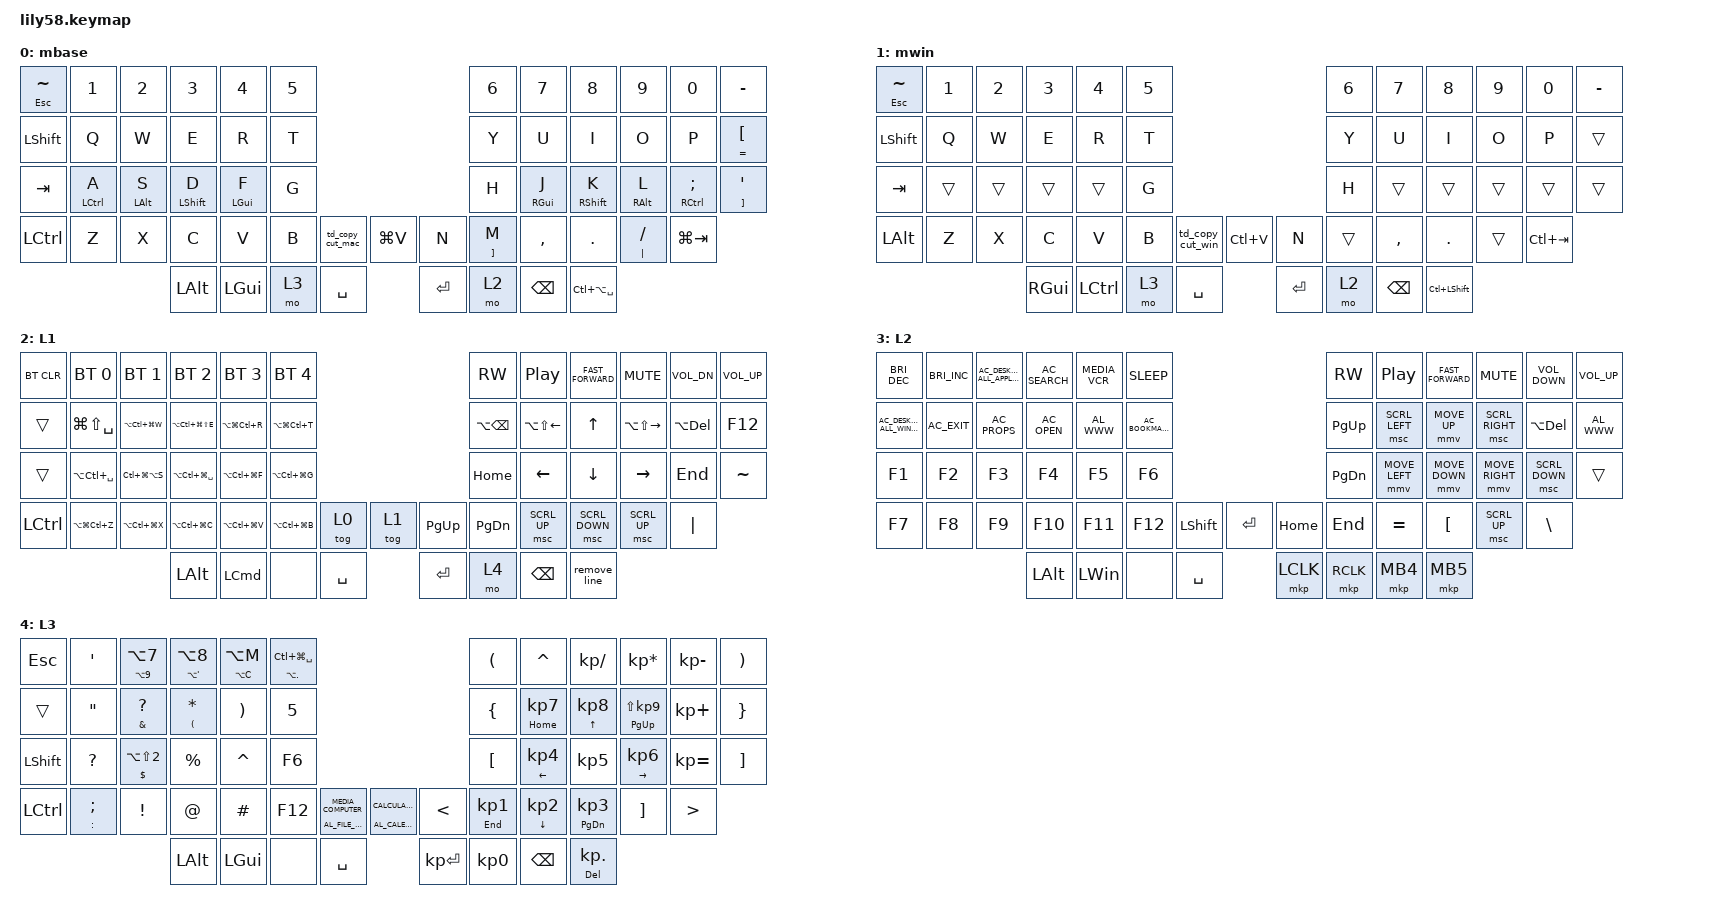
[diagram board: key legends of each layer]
/*
 * Copyright (c) 2020 The ZMK Contributors
 *
 * SPDX-License-Identifier: MIT
 */

#define MAC 0
#define WIN 1
#define L1 2
#define L2 3
#define L3 4

// Mouse Emulation Defines
#define ZMK_POINTING_DEFAULT_MOVE_VAL 1500  // default: 600
#define ZMK_POINTING_DEFAULT_SCRL_VAL 20    // default: 10

#include <behaviors.dtsi>
#include <dt-bindings/zmk/bt.h>
#include <dt-bindings/zmk/keys.h>
#include <dt-bindings/zmk/pointing.h>


&mt {
    tapping-term-ms = <400>;
    hold-trigger-key-positions = <>;
    flavor = "tap-preferred";
};

&mmv {
    acceleration-exponent = <1>;
    time-to-max-speed-ms = <200>;
    trigger-period-ms = <8>;
};

&msc {
    acceleration-exponent = <1>;
    time-to-max-speed-ms = <140>;
    trigger-period-ms = <8>;
};

/ {
    macros {
        remove_line: remove_line {
            compatible = "zmk,behavior-macro";
            #binding-cells = <0>;
            bindings = <&kp END &kp LG(BACKSPACE)>;
            label = "REMOVE_LINE";
        };
    };

    behaviors {
        td_copy_cut_mac: td_copy_cut_mac {
            compatible = "zmk,behavior-tap-dance";
            label = "TD_COPY_CUT_MAC";
            #binding-cells = <0>;
            tapping-term-ms = <200>;
            bindings = <&kp LG(C)>, <&kp LG(X)>;
        };

        td_copy_cut_win: td_copy_cut_win {
            compatible = "zmk,behavior-tap-dance";
            label = "TD_COPY_CUT_WIN";
            #binding-cells = <0>;
            tapping-term-ms = <200>;
            bindings = <&kp LC(C)>, <&kp LC(X)>;
        };
    };

    keymap {
        compatible = "zmk,keymap";

        MACOS {
            // ------------------------------------------------------------------------------------------------------------
            // |  ESC  |  1  |  2  |  3   |  4   |  5   |                   |  6   |  7    |  8    |  9   |   0   |   `   |
            // |  TAB  |  Q  |  W  |  E   |  R   |  T   |                   |  Y   |  U    |  I    |  O   |   P   |   -   |
            // |  CTRL |  A  |  S  |  D   |  F   |  G   |                   |  H   |  J    |  K    |  L   |   ;   |   '   |
            // | SHIFT |  Z  |  X  |  C   |  V   |  B   |   "["  |  |  "]"  |  N   |  M    |  ,    |  .   |   /   | SHIFT |
            //                     | ALT  | GUI  | LOWER|  SPACE |  | ENTER | RAISE| BSPC  | GUI   |

            display-name = "mbase";
            bindings = <
&mt ESC TILDE   &kp NUMBER_1  &kp N2      &kp N3            &kp N4      &kp N5                                        &kp N6  &kp N7               &kp N8             &kp N9      &kp N0          &kp MINUS
&kp LEFT_SHIFT  &kp Q         &kp W       &kp E             &kp R       &kp T                                         &kp Y   &kp U                &kp I              &kp O       &kp P           &mt EQUAL LEFT_BRACKET
&kp TAB         &mt LCTRL A   &mt LALT S  &mt LEFT_SHIFT D  &mt LGUI F  &kp G                                         &kp H   &mt RGUI J           &mt RIGHT_SHIFT K  &mt RALT L  &mt RCTRL SEMI  &mt RIGHT_BRACKET SQT
&kp LCTRL       &kp Z         &kp X       &kp C             &kp V       &kp B   &td_copy_cut_mac    &kp LG(V)  &kp N   &mt RIGHT_BRACKET M  &kp COMMA          &kp DOT     &mt PIPE SLASH  &kp LG(TAB)
                                          &kp LALT          &kp LGUI    &mo 3   &kp SPACE                  &kp RET    &mo 2   &kp BSPC             &kp LC(LA(SPACE))
            >;
        };

        WINDOWS {
            display-name = "mwin";
            bindings = <
&mt ESC TILDE   &kp NUMBER_1  &kp N2  &kp N3    &kp N4     &kp N5                                        &kp N6  &kp N7    &kp N8              &kp N9   &kp N0  &kp MINUS
&kp LEFT_SHIFT  &kp Q         &kp W   &kp E     &kp R      &kp T                                         &kp Y   &kp U     &kp I               &kp O    &kp P   &trans
&kp TAB         &trans        &trans  &trans    &trans     &kp G                                         &kp H   &trans    &trans              &trans   &trans  &trans
&kp LEFT_ALT    &kp Z         &kp X   &kp C     &kp V      &kp B   &td_copy_cut_win    &kp LC(V)  &kp N   &trans    &kp COMMA           &kp DOT  &trans  &kp LC(TAB)
                                      &kp RGUI  &kp LCTRL  &mo 3   &kp SPACE                  &kp RET    &mo 2   &kp BSPC  &kp LC(LEFT_SHIFT)
            >;
        };

        L1 {
            // ------------------------------------------------------------------------------------------------------------
            // | BTCLR | BT1 | BT2 |  BT3 |  BT4 |  BT5 |                   |      |       |       |      |       |       |
            // |  F1   |  F2 |  F3 |  F4  |  F5  |  F6  |                   |  F7  |  F8   |  F9   |  F10 |  F11  |  F12  |
            // |   `   |  !  |  @  |  #   |  $   |  %   |                   |  ^   |  &    |  *    |  (   |   )   |   ~   |
            // |       |     |     |      |      |      |        |  |       |      |  _    |  +    |  {   |   }   |  "|"  |
            //                     |      |      |      |        |  |       |      |       |       |

            display-name = "L1";
            bindings = <
&bt BT_CLR  &bt BT_SEL 0       &bt BT_SEL 1       &bt BT_SEL 2           &bt BT_SEL 3       &bt BT_SEL 4                               &kp C_RW           &kp C_PLAY_PAUSE  &kp C_FAST_FORWARD  &kp K_MUTE         &kp C_VOL_DN    &kp C_VOLUME_UP
&trans      &kp LG(LS(SPACE))  &kp LA(LC(LG(W)))  &kp LA(LC(LG(LS(E))))  &kp LA(LG(LC(R)))  &kp LA(LG(LC(T)))                          &kp LA(BACKSPACE)  &kp LA(LS(LEFT))  &kp UP_ARROW        &kp LA(LS(RIGHT))  &kp LA(DELETE)  &kp F12
&trans      &kp LA(LC(SPACE))  &kp LC(LG(LA(S)))  &kp LA(LC(LG(SPACE)))  &kp LA(LC(LG(F)))  &kp LA(LC(LG(G)))                          &kp HOME           &kp LEFT          &kp DOWN            &kp RIGHT_ARROW    &kp END         &kp TILDE
&kp LCTRL   &kp LA(LG(LC(Z)))  &kp LA(LC(LG(X)))  &kp LA(LC(LG(C)))      &kp LA(LC(LG(V)))  &kp LA(LC(LG(B)))  &tog 0       &tog 1     &kp PG_UP          &kp PAGE_DOWN     &msc SCRL_UP        &msc SCRL_DOWN     &msc SCRL_UP    &kp PIPE
                                                  &kp LEFT_ALT           &kp LCMD           &none              &kp SPACE    &kp ENTER  &mo 4              &kp BACKSPACE     &remove_line
            >;
        };

        L2 {
            // ------------------------------------------------------------------------------------------------------------
            // |       |     |     |      |      |      |                   |      |       |       |      |       |       |
            // |   `   |  1  |  2  |  3   |  4   |  5   |                   |  6   |   7   |   8   |  9   |   0   |       |
            // |   F1  |  F2 |  F3 |  F4  |  F5  |  F6  |                   |      |   <-  |   v   |  ^   |  ->   |       |
            // |   F7  |  F8 |  F9 |  F10 |  F11 |  F12 |        |  |       |  +   |   -   |   =   |  [   |   ]   |   \   |
            //                     |      |      |      |        |  |       |      |       |       |

            display-name = "L2";
            bindings = <
&kp C_BRI_DEC                      &kp C_BRIGHTNESS_INC  &kp C_AC_DESKTOP_SHOW_ALL_APPLICATIONS  &kp C_AC_SEARCH  &kp C_MEDIA_VCR  &kp C_SLEEP                                      &kp C_RW       &kp C_PLAY_PAUSE  &kp C_FAST_FORWARD  &kp K_MUTE       &kp C_VOLUME_DOWN  &kp C_VOLUME_UP
&kp C_AC_DESKTOP_SHOW_ALL_WINDOWS  &kp C_AC_EXIT         &kp C_AC_PROPS                          &kp C_AC_OPEN    &kp C_AL_WWW     &kp C_AC_BOOKMARKS                               &kp PG_UP      &msc SCRL_LEFT    &mmv MOVE_UP        &msc SCRL_RIGHT  &kp LA(DELETE)     &kp C_AL_WWW
&kp F1                             &kp F2                &kp F3                                  &kp F4           &kp F5           &kp F6                                           &kp PAGE_DOWN  &mmv MOVE_LEFT    &mmv MOVE_DOWN      &mmv MOVE_RIGHT  &msc SCRL_DOWN     &trans
&kp F7                             &kp F8                &kp F9                                  &kp F10          &kp F11          &kp F12             &kp LEFT_SHIFT    &kp ENTER  &kp HOME       &kp END           &kp EQUAL           &kp LBKT         &msc SCRL_UP       &kp BSLH
                                                                                                 &kp LEFT_ALT     &kp LEFT_WIN     &none               &kp SPACE         &mkp LCLK  &mkp RCLK      &mkp MB4          &mkp MB5
            >;
        };

        L3 {
            display-name = "L3";
            bindings = <
&kp ESCAPE      &kp SQT              &mt LA(NUMBER_9) LA(NUMBER_7)  &mt LA(SQT) LA(NUMBER_8)       &mt LA(C) LA(M)        &mt LA(DOT) LC(LG(SPACE))                                                                            &kp LEFT_PARENTHESIS  &kp CARET       &kp KP_DIVIDE   &kp KP_MULTIPLY        &kp KP_SUBTRACT  &kp RIGHT_PARENTHESIS
&trans          &kp DOUBLE_QUOTES    &mt AMPERSAND QUESTION         &mt LEFT_PARENTHESIS ASTERISK  &kp RIGHT_PARENTHESIS  &kp N5                                                                                               &kp LEFT_BRACE        &mt HOME KP_N7  &mt UP KP_N8    &mt PAGE_UP LS(KP_N9)  &kp KP_PLUS      &kp RIGHT_BRACE
&kp LEFT_SHIFT  &kp QUESTION         &mt DOLLAR LA(LS(NUMBER_2))    &kp PERCENT                    &kp CARET              &kp F6                                                                                               &kp LEFT_BRACKET      &mt LEFT KP_N4  &kp KP_N5       &mt RIGHT KP_N6        &kp KP_EQUAL     &kp RIGHT_BRACKET
&kp LCTRL       &mt COLON SEMICOLON  &kp EXCLAMATION                &kp AT_SIGN                    &kp HASH               &kp F12                    &mt C_AL_FILE_BROWSER C_MEDIA_COMPUTER    &mt C_AL_CALENDAR K_CALCULATOR  &kp LESS_THAN         &mt END KP_N1   &mt DOWN KP_N2  &mt PAGE_DOWN KP_N3    &kp RBKT         &kp GREATER_THAN
                                                                    &kp LALT                       &kp LEFT_GUI           &none                      &kp SPACE                                 &kp KP_ENTER                    &kp KP_N0             &kp BACKSPACE   &mt DEL KP_DOT
            >;
        };
    };

    conditional_layers { compatible = "zmk,conditional-layers"; };
};
